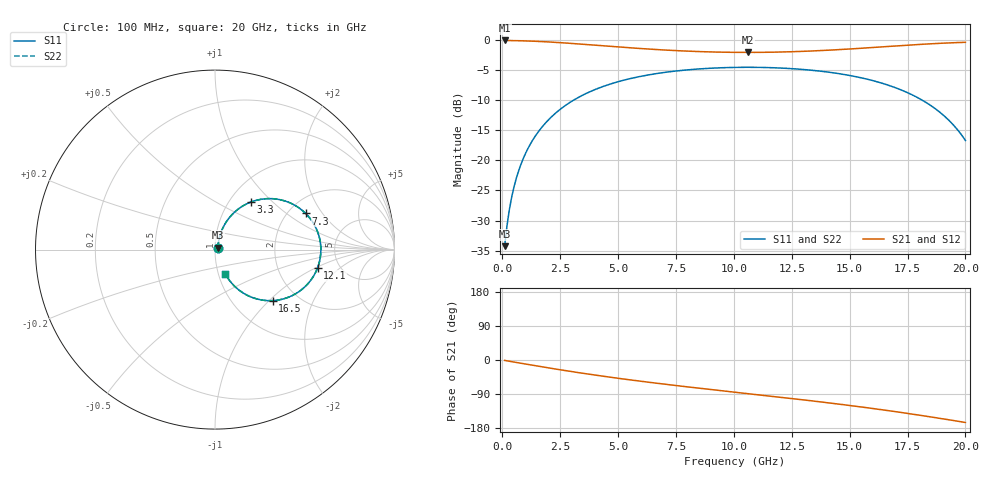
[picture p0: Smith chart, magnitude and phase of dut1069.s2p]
! Touchstone file exported from HFSS 2026.1.0
!  File:  C:/ffzhzh/LocalFiles/Ansys_Project_Files/temp_train_TSV_RDL_1069_1783299098_30076.aedt
!  Generated:  09:01:03 AM Jul  6, 2026
!  Design:  TSV_RDL
!  Project:  temp_train_TSV_RDL_1069_1783299098_30076
! Variables:
!  h_bsmrdl = 5.96um
!  h_ox = 20um
!  h_rdl = 5um
!  h_sub = 50.23um
!  h_tmrdl = 4.94um
!  h_tsv = 50.23um
!  h_via = 3um
!  l_bsmrdl = 166.84um
!  l_sub = 3054.35um
!  l_tmrdl = 511.33um
!  m_sub = 200um
!  pitch = 46.57um
!  r_tsv = 2.82um
!  s_tmrdl = 10um
!  w_bsmrdl = 17.81um
!  w_sub = 500um
!  w_tmrdl = 18.36um
!  x_tsv_center1 = 520.51um
!  x_tsv_center2 = 705.16um
!  x_tsv_center3 = 1234.85um
!  x_tsv_center4 = 1419.5um
!  x_tsv_center5 = 1949.19um
!  x_tsv_center6 = 2133.84um
# GHz S MA R 50.000000
! Terminal data exported
! Port[1] = TM_RDL1_1_T1
! Port[2] = TM_RDL5_1_T1
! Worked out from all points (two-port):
!   200 points, 100 MHz to 20 GHz, reference 50 ohm
!   highest |S21| = -0.13 dB at 100 MHz (marker M1); lowest = -2.1 dB at 10.6 GHz (marker M2)
!   |S21| within 3 dB of the highest: start of sweep to end of sweep
!   lowest |S11| = -34.2 dB at 100 MHz (marker M3), VSWR 1.04, Z = 51.6 + j1.2 ohm
!   |S11| at or under -10 dB: start of sweep to 3.095 GHz; 18.12 GHz to end of sweep
!   |S22| runs from -34.2 to -4.6 dB; largest |S21 - S12| = 2.6e-14
!   S11 on the Smith chart (normalised r, x): 100 MHz: 1.03, +0.02; 3.3 GHz: 1.25, +0.75; 7.3 GHz: 2.47, +1.41; 12.1 GHz: 3.42, -1.05; 16.5 GHz: 1.51, -1.05; 20 GHz: 1.08, -0.30
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0.1  0.01939 36.8  0.9846 -1.1  0.9846 -1.1  0.01939 36.8
! Gamma 0 0 0 0
! Port Impedance 50 0 50 0
0.3  0.0384 61.9  0.9832 -3.3  0.9832 -3.3  0.0384 61.9
0.5  0.05955 68.4  0.9816 -5.4  0.9816 -5.4  0.05955 68.4
0.8  0.09194 70.7  0.9787 -8.5  0.9787 -8.5  0.09194 70.7
1.1  0.1242 70.2  0.9747 -11.7  0.9747 -11.7  0.1242 70.2
1.5  0.1664 67.9  0.9678 -15.8  0.9678 -15.8  0.1664 67.9
2  0.2169 64.0  0.9571 -20.9  0.9571 -20.9  0.2169 64.0
3.3  0.333 52.9  0.9213 -33.4  0.9213 -33.4  0.333 52.9
3.5  0.3486 51.1  0.9153 -35.3  0.9153 -35.3  0.3486 51.1
5  0.4479 38.8  0.8703 -48.2  0.8703 -48.2  0.4479 38.8
6.8  0.5281 25.3  0.8247 -62.3  0.8247 -62.3  0.5281 25.3
7.3  0.5439 21.7  0.8147 -65.9  0.8147 -65.9  0.5439 21.7
10.1  0.5889 3.0  0.7843 -85.3  0.7843 -85.3  0.5889 3.0
10.6  0.5899 -0.2  0.7836 -88.7  0.7836 -88.7  0.5899 -0.2
12.1  0.5806 -10.0  0.7901 -98.9  0.7901 -98.9  0.5806 -10.0
13.4  0.5567 -18.8  0.8058 -108.0  0.8058 -108.0  0.5567 -18.8
15.1  0.5005 -30.8  0.8388 -120.7  0.8388 -120.7  0.5005 -30.8
16.5  0.4295 -41.4  0.8734 -132.1  0.8734 -132.1  0.4294 -41.4
16.7  0.4173 -43.0  0.8786 -133.8  0.8786 -133.8  0.4173 -43.0
18.6  0.2762 -58.1  0.9261 -151.1  0.9261 -151.1  0.2761 -58.1
19.4  0.2039 -63.9  0.9417 -158.9  0.9417 -158.9  0.2039 -63.9
20  0.146 -67.0  0.9503 -164.9  0.9503 -164.9  0.146 -67.0
